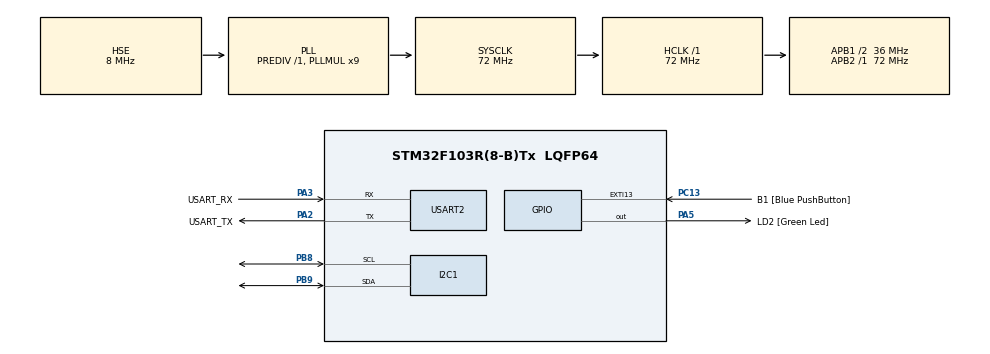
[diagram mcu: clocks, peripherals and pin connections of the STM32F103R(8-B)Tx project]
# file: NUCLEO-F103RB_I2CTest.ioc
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I2C1.I2C_Mode=I2C_Standard
Mcu.Family=STM32F1
Mcu.Name=STM32F103R(8-B)Tx
Mcu.Package=LQFP64
NVIC.EXTI15_10_IRQn=true\:0\:0\:false\:false\:true\:true\:true\:true
NVIC.PriorityGroup=NVIC_PRIORITYGROUP_4
NVIC.TIM1_UP_IRQn=true\:15\:0\:false\:false\:true\:false\:true\:true
NVIC.TimeBase=TIM1_UP_IRQn
NVIC.TimeBaseIP=TIM1
PA13.GPIO_Label=TMS
PA13.Mode=Serial_Wire
PA13.Signal=SYS_JTMS-SWDIO
PA14.GPIO_Label=TCK
PA14.Mode=Serial_Wire
PA14.Signal=SYS_JTCK-SWCLK
PA2.GPIO_Label=USART_TX
PA2.GPIO_Mode=GPIO_MODE_AF_PP
PA2.GPIO_PuPd=GPIO_NOPULL
PA2.GPIO_Speed=GPIO_SPEED_FREQ_LOW
PA2.Mode=Asynchronous
PA2.Signal=USART2_TX
PA3.GPIO_Label=USART_RX
PA3.GPIO_Mode=GPIO_MODE_AF_PP
PA3.GPIO_PuPd=GPIO_NOPULL
PA3.GPIO_Speed=GPIO_SPEED_FREQ_LOW
PA3.Mode=Asynchronous
PA3.Signal=USART2_RX
PA5.GPIO_Label=LD2 [Green Led]
PA5.GPIO_ModeDefaultOutputPP=GPIO_MODE_OUTPUT_PP
PA5.GPIO_PuPd=GPIO_NOPULL
PA5.GPIO_Speed=GPIO_SPEED_FREQ_LOW
PA5.Signal=GPIO_Output
PB3.GPIO_Label=SWO
PB3.Signal=SYS_JTDO-TRACESWO
PB8.Mode=I2C
PB8.Signal=I2C1_SCL
PB9.Mode=I2C
PB9.Signal=I2C1_SDA
PC13-TAMPER-RTC.GPIO_Label=B1 [Blue PushButton]
PC13-TAMPER-RTC.GPIO_PuPd=GPIO_NOPULL
PC13-TAMPER-RTC.Signal=GPXTI13
PC14-OSC32_IN.Mode=LSE-External-Oscillator
PC14-OSC32_IN.Signal=RCC_OSC32_IN
PC15-OSC32_OUT.Mode=LSE-External-Oscillator
PC15-OSC32_OUT.Signal=RCC_OSC32_OUT
PD0-OSC_IN.Mode=HSE-External-Clock-Source
PD0-OSC_IN.Signal=RCC_OSC_IN
PD1-OSC_OUT.Mode=HSE-External-Clock-Source
PD1-OSC_OUT.Signal=RCC_OSC_OUT
ProjectManager.HeapSize=0x800
ProjectManager.StackSize=0x800
ProjectManager.TargetToolchain=STM32CubeIDE
RCC.AHBFreq_Value=72000000
RCC.APB1CLKDivider=RCC_HCLK_DIV2
RCC.APB1Freq_Value=36000000
RCC.APB1TimFreq_Value=72000000
RCC.APB2Freq_Value=72000000
RCC.APB2TimFreq_Value=72000000
RCC.HCLKFreq_Value=72000000
RCC.PLLMUL=RCC_PLL_MUL9
RCC.PLLSourceVirtual=RCC_PLLSOURCE_HSE
RCC.RTCClockSelection=RCC_RTCCLKSOURCE_LSE
RCC.SYSCLKFreq_VALUE=72000000
RCC.SYSCLKSource=RCC_SYSCLKSOURCE_PLLCLK
RCC.USBFreq_Value=72000000
TIM2.Prescaler=72-1
USART2.VirtualMode=VM_ASYNC
VP_SYS_VS_tim1.Mode=TIM1
VP_TIM2_VS_ClockSourceINT.Mode=Internal
board=NUCLEO-F103RB

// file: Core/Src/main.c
/* USER CODE BEGIN Header */
/**
  ******************************************************************************
  * @file           : main.c
  * @brief          : Main program body
  ******************************************************************************
  * @attention
  *
  * Copyright (c) 2023 STMicroelectronics.
  * All rights reserved.
  *
  * This software is licensed under terms that can be found in the LICENSE file
  * in the root directory of this software component.
  * If no LICENSE file comes with this software, it is provided AS-IS.
  *
  ******************************************************************************
  */
/* USER CODE END Header */
#include "main.h"

/* USER CODE BEGIN Includes */
#include <stdio.h> // printf()
#include "command_line.h"

/* USER CODE END Includes */

/* USER CODE BEGIN PD */
#define I2C_ADDR_DS3231    0x68		// 7-bit address

/* USER CODE END PD */

I2C_HandleTypeDef hi2c1;

TIM_HandleTypeDef htim2;

UART_HandleTypeDef huart2;

void SystemClock_Config(void);
static void MX_GPIO_Init(void);
static void MX_USART2_UART_Init(void);
static void MX_I2C1_Init(void);
static void MX_TIM2_Init(void);

/* USER CODE BEGIN 0 */
#define HAL_SMALL_WAIT  40
// Define serial input and output functions using UART2
int __io_putchar(int ch)
{
    HAL_UART_Transmit(&huart2, (uint8_t *)&ch, 1, HAL_SMALL_WAIT);
    return 1;
}

// Read a character from the UART with small timeout
// This function works well if called within a 50ms or shorter loop, but may lose characters if
// data is received with any real speed.
// Use DMA for receive data if trying to perform higher speed communication (anything faster than typing).
// If HAL_UART_Receive() returns error, return EOF (-1), else return the character read
int __io_getchar(void)
{
    uint8_t byte;
    HAL_StatusTypeDef hal_status = HAL_UART_Receive(&huart2, &byte, sizeof(byte), HAL_SMALL_WAIT);
    if(HAL_OK == hal_status)
    {
        return byte;
    }
    else
        return EOF;
}

// 1) If write buffer and wr_count provided, begin sending bytes to the I2C device.
// 2) If read buffer and rd_count provided, send restart condition followed by
//      reading bytes from the device into buffer.
#define I2C_TIMEOUT	50		// 50ms timeout
HAL_StatusTypeDef i2c_write_read(uint16_t devAddress, uint8_t * pwrite, uint16_t wr_count, uint8_t * pread, uint16_t rd_count)
{
	HAL_StatusTypeDef rc=HAL_OK;
	if(pwrite && wr_count) {
		// If write pointer and count provided, begin by sending data
		rc=HAL_I2C_Master_Transmit(&hi2c1, devAddress, pwrite, wr_count, I2C_TIMEOUT);
	}
	// Return now if error
	if(rc!=HAL_OK) return rc;

	if(pread && rd_count) {
		// If read pointer and count provided, read data from device
		rc=HAL_I2C_Master_Receive(&hi2c1, devAddress, pread, rd_count, I2C_TIMEOUT);
	}

	return rc;
}

// Counter incremented each time blue push button is pressed
uint32_t interrupt_counter = 0;

/* USER CODE END 0 */

int main(void)
{

  /* MCU Configuration--------------------------------------------------------*/

  /* Reset of all peripherals, Initializes the Flash interface and the Systick. */
  HAL_Init();

  /* Configure the system clock */
  SystemClock_Config();

  /* Initialize all configured peripherals */
  MX_GPIO_Init();
  MX_USART2_UART_Init();
  MX_I2C1_Init();
  MX_TIM2_Init();
  /* USER CODE BEGIN 2 */
  //setvbuf(stdout, NULL, _IONBF, 0); // Disable STDOUT stream buffering - done in cl_setup()
  cl_setup(); // Initialize command line interface

  /* USER CODE END 2 */

  /* Infinite loop */
  /* USER CODE BEGIN WHILE */
  uint32_t last_counter_peak = 0;
  while (1)
  {   //HAL_GPIO_TogglePin(LD2_GPIO_Port, LD2_Pin);
      //printf("Hello World\n");
      cl_loop(); // look for characters from serial port

      // If user pressed the blue button, it increments a counter each time.
      // If the counter value has changed, display count value
      // After 55 "rapid fire" button presses, only once did two interrupts fire during 50ms delay
      if(interrupt_counter != last_counter_peak) {
    	  printf("IntCntr: %lu\n",interrupt_counter);
    	  last_counter_peak = interrupt_counter;
      }

      HAL_Delay(50);
    /* USER CODE END WHILE */

  }
}

void SystemClock_Config(void)
{
  RCC_OscInitTypeDef RCC_OscInitStruct = {0};
  RCC_ClkInitTypeDef RCC_ClkInitStruct = {0};

  /** Initializes the RCC Oscillators according to the specified parameters
  * in the RCC_OscInitTypeDef structure.
  */
  RCC_OscInitStruct.OscillatorType = RCC_OSCILLATORTYPE_HSE;
  RCC_OscInitStruct.HSEState = RCC_HSE_BYPASS;
  RCC_OscInitStruct.HSEPredivValue = RCC_HSE_PREDIV_DIV1;
  RCC_OscInitStruct.HSIState = RCC_HSI_ON;
  RCC_OscInitStruct.PLL.PLLState = RCC_PLL_ON;
  RCC_OscInitStruct.PLL.PLLSource = RCC_PLLSOURCE_HSE;
  RCC_OscInitStruct.PLL.PLLMUL = RCC_PLL_MUL9;
  if (HAL_RCC_OscConfig(&RCC_OscInitStruct) != HAL_OK)
  {
    Error_Handler();
  }

  /** Initializes the CPU, AHB and APB buses clocks
  */
  RCC_ClkInitStruct.ClockType = RCC_CLOCKTYPE_HCLK|RCC_CLOCKTYPE_SYSCLK
                              |RCC_CLOCKTYPE_PCLK1|RCC_CLOCKTYPE_PCLK2;
  RCC_ClkInitStruct.SYSCLKSource = RCC_SYSCLKSOURCE_PLLCLK;
  RCC_ClkInitStruct.AHBCLKDivider = RCC_SYSCLK_DIV1;
  RCC_ClkInitStruct.APB1CLKDivider = RCC_HCLK_DIV2;
  RCC_ClkInitStruct.APB2CLKDivider = RCC_HCLK_DIV1;

  if (HAL_RCC_ClockConfig(&RCC_ClkInitStruct, FLASH_LATENCY_2) != HAL_OK)
  {
    Error_Handler();
  }
}

static void MX_I2C1_Init(void)
{

  hi2c1.Instance = I2C1;
  hi2c1.Init.ClockSpeed = 100000;
  hi2c1.Init.DutyCycle = I2C_DUTYCYCLE_2;
  hi2c1.Init.OwnAddress1 = 0;
  hi2c1.Init.AddressingMode = I2C_ADDRESSINGMODE_7BIT;
  hi2c1.Init.DualAddressMode = I2C_DUALADDRESS_DISABLE;
  hi2c1.Init.OwnAddress2 = 0;
  hi2c1.Init.GeneralCallMode = I2C_GENERALCALL_DISABLE;
  hi2c1.Init.NoStretchMode = I2C_NOSTRETCH_DISABLE;
  if (HAL_I2C_Init(&hi2c1) != HAL_OK)
  {
    Error_Handler();
  }

}

static void MX_TIM2_Init(void)
{

  TIM_ClockConfigTypeDef sClockSourceConfig = {0};
  TIM_MasterConfigTypeDef sMasterConfig = {0};

  htim2.Instance = TIM2;
  htim2.Init.Prescaler = 72-1;
  htim2.Init.CounterMode = TIM_COUNTERMODE_UP;
  htim2.Init.Period = 65535;
  htim2.Init.ClockDivision = TIM_CLOCKDIVISION_DIV1;
  htim2.Init.AutoReloadPreload = TIM_AUTORELOAD_PRELOAD_DISABLE;
  if (HAL_TIM_Base_Init(&htim2) != HAL_OK)
  {
    Error_Handler();
  }
  sClockSourceConfig.ClockSource = TIM_CLOCKSOURCE_INTERNAL;
  if (HAL_TIM_ConfigClockSource(&htim2, &sClockSourceConfig) != HAL_OK)
  {
    Error_Handler();
  }
  sMasterConfig.MasterOutputTrigger = TIM_TRGO_RESET;
  sMasterConfig.MasterSlaveMode = TIM_MASTERSLAVEMODE_DISABLE;
  if (HAL_TIMEx_MasterConfigSynchronization(&htim2, &sMasterConfig) != HAL_OK)
  {
    Error_Handler();
  }
  /* USER CODE BEGIN TIM2_Init 2 */
  HAL_TIM_Base_Start(&htim2);

  /* USER CODE END TIM2_Init 2 */

}

static void MX_USART2_UART_Init(void)
{

  huart2.Instance = USART2;
  huart2.Init.BaudRate = 115200;
  huart2.Init.WordLength = UART_WORDLENGTH_8B;
  huart2.Init.StopBits = UART_STOPBITS_1;
  huart2.Init.Parity = UART_PARITY_NONE;
  huart2.Init.Mode = UART_MODE_TX_RX;
  huart2.Init.HwFlowCtl = UART_HWCONTROL_NONE;
  huart2.Init.OverSampling = UART_OVERSAMPLING_16;
  if (HAL_UART_Init(&huart2) != HAL_OK)
  {
    Error_Handler();
  }

}

static void MX_GPIO_Init(void)
{
  GPIO_InitTypeDef GPIO_InitStruct = {0};

  /* GPIO Ports Clock Enable */
  __HAL_RCC_GPIOC_CLK_ENABLE();
  __HAL_RCC_GPIOD_CLK_ENABLE();
  __HAL_RCC_GPIOA_CLK_ENABLE();
  __HAL_RCC_GPIOB_CLK_ENABLE();

  /*Configure GPIO pin Output Level */
  HAL_GPIO_WritePin(LD2_GPIO_Port, LD2_Pin, GPIO_PIN_RESET);

  /*Configure GPIO pin : B1_Pin */
  GPIO_InitStruct.Pin = B1_Pin;
  GPIO_InitStruct.Mode = GPIO_MODE_IT_RISING;
  GPIO_InitStruct.Pull = GPIO_NOPULL;
  HAL_GPIO_Init(B1_GPIO_Port, &GPIO_InitStruct);

  /*Configure GPIO pin : LD2_Pin */
  GPIO_InitStruct.Pin = LD2_Pin;
  GPIO_InitStruct.Mode = GPIO_MODE_OUTPUT_PP;
  GPIO_InitStruct.Pull = GPIO_NOPULL;
  GPIO_InitStruct.Speed = GPIO_SPEED_FREQ_LOW;
  HAL_GPIO_Init(LD2_GPIO_Port, &GPIO_InitStruct);

  /* EXTI interrupt init*/
  HAL_NVIC_SetPriority(EXTI15_10_IRQn, 0, 0);
  HAL_NVIC_EnableIRQ(EXTI15_10_IRQn);

}

void HAL_TIM_PeriodElapsedCallback(TIM_HandleTypeDef *htim)
{
  if (htim->Instance == TIM1) {
    HAL_IncTick();
  }
}

void Error_Handler(void)
{
  __disable_irq();
  while (1)
  {
  }
}
